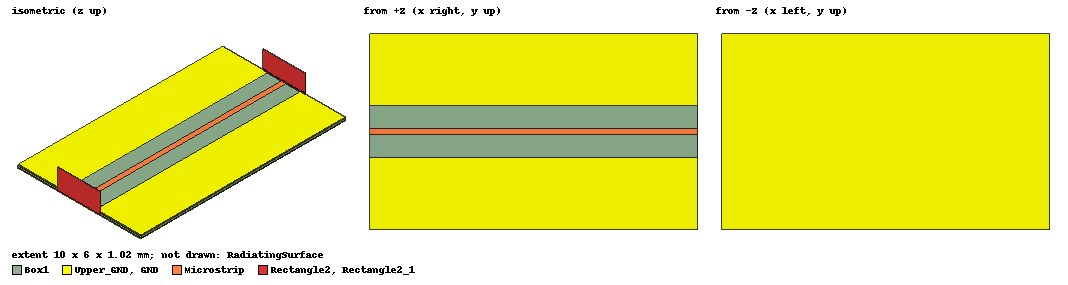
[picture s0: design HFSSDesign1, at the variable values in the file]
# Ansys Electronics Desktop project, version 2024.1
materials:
  vacuum: permittivity=1
  Custom_ADM_Material: permittivity=3.3 dielectric_loss_tangent=0.003 delta_H_freq=10GHz
  copper: permeability=0.999991 conductivity=58000000
  pec: conductivity=1e+30

design HFSSDesign1 (HFSS, HFSS Terminal Network, model units mm)
options: Allow_Material_Override Calculate_Lossy_Dielectrics
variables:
  track_length = 10mm
  sub_thick = 100um
  track_width = 0.211mm
  G_Spacing = 0.7mm
  copper_thick = 20um
  port_width = track_width
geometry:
  Box1 [Custom_ADM_Material] = box(corner=(-track_length/2, -3mm, 0mm), size=(track_length, 6mm, -sub_thick))
  Microstrip [copper] = rectangle(corner=(-track_length/2, -track_width/2, 0mm), x_size=track_length, y_size=track_width)
  Rectangle1 = rectangle(corner=(-track_length/2, track_width/2+G_Spacing, 0mm), x_size=track_length, y_size=3mm-track_width/2-G_Spacing)
  Upper_GND [copper] = Rectangle1.duplicate_along_line(step=(0mm, -G_Spacing-track_width/2-3mm, 0mm), total=2)
  Upper_GND.unite(Rectangle1)
  [Microstrip, Upper_GND].thicken(20um)
  RadiatingSurface [vacuum] = region(absolute_offset: +X=0mm, -X=0mm, +Y=2mm, -Y=2mm, +Z=2mm, -Z=2mm)
  GND [copper] = object_from(Box1.face(-z))
  GND.thicken(20um)
  Rectangle2 = rectangle(corner=(track_length/2, -5*port_width, -sub_thick), y_size=10*port_width, z_size=10*sub_thick)
  Rectangle2_1 = Rectangle2.duplicate_along_line(step=(-track_length, 0mm, 0mm), total=2)
  Rectangle3 [non-model] = rectangle(corner=(0mm, -3mm, -sub_thick-copper_thick), y_size=6mm, z_size=2mm)
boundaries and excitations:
  Open1: Radiation Objects=RadiatingSurface
  Microstrip_T1: Terminal port=1 Faces=Microstrip.face(at (5, 0, 0.01)) TerminalResistance=50ohm
  Microstrip_T2: Terminal port=2 Faces=Microstrip.face(at (-5, 0, 0.01)) TerminalResistance=50ohm
  1: Wave Port Faces=Rectangle2.face(at (5, 0, 0.4)) WavePortType=Terminal NumModes=1
  2: Wave Port Faces=Rectangle2_1.face WavePortType=Terminal NumModes=1
  reference conductors: GND, Upper_GND
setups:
  Setup1: HfssDriven MultipleAdaptiveFreqsSetup{Low=0GHz High=50GHz} MaxDeltaS=0.02 MaximumPasses=20 MinimumPasses=1 MinimumConvergedPasses=1 PercentRefinement=30 BasisOrder=1 PortAccuracy=2 DrivenSolverType="Direct Solver"
    sweep Sweep: 0GHz to 50GHz, 401 points; Type=Interpolating InterpTolerance=0.5 InterpMaxSolns=250 MinSolvedFreq=0.01GHz PassivityErrorTolerance=0.0001
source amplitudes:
  1:1: 1 0deg
  2:1: 0V 0deg
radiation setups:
  3D: Infinite Sphere Theta=0deg..180deg step 2deg Phi=-180deg..180deg step 2deg
  Elevation: Infinite Sphere Theta=-180deg..180deg step 1deg Phi=0deg..90deg step 90deg
  Azimuth: Infinite Sphere Theta=90deg..90deg step 0deg Phi=-180deg..180deg step 1deg
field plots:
  Vector_E1: E Field over a plane on Setup1 : LastAdaptive at Freq=30GHz Phase=0deg
  Mag_E1: E Field over Microstrip.face(all 6) on Setup1 : LastAdaptive at Freq=30GHz Phase=0deg
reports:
  Terminal S Parameter Plot 1: dB(St(Microstrip_T1,Microstrip_T1)), dB(St(Microstrip_T2,Microstrip_T2)) vs Freq on Setup1 : Sweep; markers m1 at 23.5GHz, m2 at 10GHz
  Terminal S Parameter Chart 1: St(Microstrip_T1,Microstrip_T1), St(Microstrip_T2,Microstrip_T1), St(Microstrip_T1,Microstrip_T2), St(Microstrip_T2,Microstrip_T2) on Setup1 : Sweep [Freq=all]
  Terminal Group Delay Plot 1: GroupDelay(Microstrip_T2,Microstrip_T1) vs Freq on Setup1 : Sweep
  Terminal S Parameter Plot 2: dB(St(Microstrip_T2,Microstrip_T1)), dB(St(Microstrip_T1,Microstrip_T2)) vs Freq on Setup1 : Sweep; markers m1 at 50GHz, m2 at 10GHz
  Terminal S Parameter Table 1: dB(St(Microstrip_T2,Microstrip_T1)) vs Freq on Setup1 : Sweep
